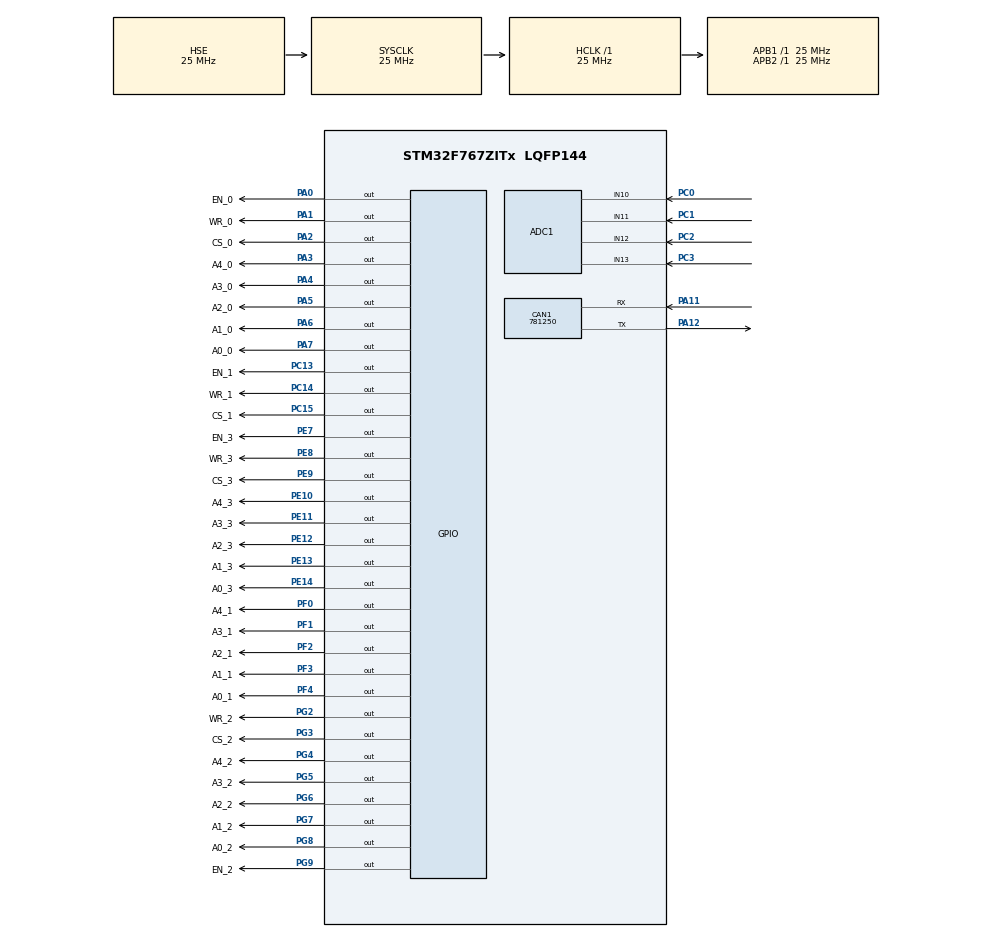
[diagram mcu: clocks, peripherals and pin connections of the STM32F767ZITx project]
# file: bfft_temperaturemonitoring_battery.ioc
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PE12.GPIO_ModeDefaultOutputPP=GPIO_MODE_OUTPUT_PP
PC15/OSC32_OUT.GPIO_ModeDefaultOutputPP=GPIO_MODE_OUTPUT_PP
PG8.GPIO_ModeDefaultOutputPP=GPIO_MODE_OUTPUT_PP
PE14.GPIO_Speed=GPIO_SPEED_FREQ_LOW
PG6.PinState=GPIO_PIN_SET
PG2.GPIO_PuPd=GPIO_NOPULL
PG4.Signal=GPIO_Output
PG8.Signal=GPIO_Output
ADC1.SamplingTime-6\#ChannelRegularConversion=ADC_SAMPLETIME_15CYCLES
PG6.GPIO_Label=A2_2
PE8.GPIO_PuPd=GPIO_NOPULL
PA3.GPIO_PuPd=GPIO_NOPULL
PC15/OSC32_OUT.GPIO_PuPd=GPIO_NOPULL
PE11.PinState=GPIO_PIN_SET
PE10.GPIO_PuPd=GPIO_NOPULL
PA6.GPIO_Label=A1_0
PG5.GPIO_ModeDefaultOutputPP=GPIO_MODE_OUTPUT_PP
PA3.GPIO_Speed=GPIO_SPEED_FREQ_LOW
PA5.PinState=GPIO_PIN_SET
ADC1.Channel-8\#ChannelRegularConversion=ADC_CHANNEL_13
RCC.SYSCLKSource=RCC_SYSCLKSOURCE_HSE
ADC1.Channel-5\#ChannelRegularConversion=ADC_CHANNEL_10
PC13.GPIO_ModeDefaultOutputPP=GPIO_MODE_OUTPUT_PP
PF1.GPIO_ModeDefaultOutputPP=GPIO_MODE_OUTPUT_PP
PG2.GPIO_ModeDefaultOutputPP=GPIO_MODE_OUTPUT_PP
RCC.APB2TimFreq_Value=25000000
PH1/OSC_OUT.Signal=RCC_OSC_OUT
PC3.Signal=ADCx_IN13
PA1.GPIO_PuPd=GPIO_NOPULL
ADC1.ScanConvMode=ADC_SCAN_ENABLE
PF1.GPIO_Label=A3_1
PG6.GPIO_PuPd=GPIO_NOPULL
PE9.Signal=GPIO_Output
PA5.GPIO_PuPd=GPIO_NOPULL
NVIC.TIM2_IRQn=true\:0\:0\:false\:false\:true\:true\:true
PG4.GPIO_Label=A4_2
PF3.Signal=GPIO_Output
PF1.GPIO_Speed=GPIO_SPEED_FREQ_LOW
PE10.Signal=GPIO_Output
PF4.GPIO_ModeDefaultOutputPP=GPIO_MODE_OUTPUT_PP
Mcu.Package=LQFP144
TIM2.Prescaler=25000-1
NVIC.TimeBase=TIM1_UP_TIM10_IRQn
PA2.GPIO_ModeDefaultOutputPP=GPIO_MODE_OUTPUT_PP
PC14/OSC32_IN.GPIO_PuPd=GPIO_NOPULL
PF3.GPIO_Speed=GPIO_SPEED_FREQ_LOW
NVIC.TimeBaseIP=TIM1
PF3.GPIO_PuPd=GPIO_NOPULL
PE12.GPIO_Label=A2_3
PA1.PinState=GPIO_PIN_RESET
PE12.GPIO_Speed=GPIO_SPEED_FREQ_LOW
PA6.GPIO_ModeDefaultOutputPP=GPIO_MODE_OUTPUT_PP
PE8.GPIO_Speed=GPIO_SPEED_FREQ_LOW
PG8.GPIO_Speed=GPIO_SPEED_FREQ_LOW
RCC.APB1TimFreq_Value=25000000
PC14/OSC32_IN.GPIO_Label=WR_1
PA6.GPIO_Speed=GPIO_SPEED_FREQ_LOW
PE10.GPIO_Label=A4_3
CAN1.CalculateTimeBit=1279.99
PA4.GPIO_Label=A3_0
PG6.GPIO_Speed=GPIO_SPEED_FREQ_LOW
PE12.GPIO_PuPd=GPIO_NOPULL
CAN1.CalculateTimeQuantum=426.6666666666667
PA0/WKUP.PinState=GPIO_PIN_RESET
PA3.GPIO_ModeDefaultOutputPP=GPIO_MODE_OUTPUT_PP
PG9.GPIO_PuPd=GPIO_NOPULL
PE11.GPIO_Speed=GPIO_SPEED_FREQ_LOW
PG5.Signal=GPIO_Output
PG9.Signal=GPIO_Output
PC13.Signal=GPIO_Output
PA0/WKUP.GPIO_ModeDefaultOutputPP=GPIO_MODE_OUTPUT_PP
CAN1.CalculateBaudRate=781250
PC2.Signal=ADCx_IN12
PA6.PinState=GPIO_PIN_SET
PC0.Signal=ADCx_IN10
PF2.PinState=GPIO_PIN_SET
ADC1.Channel-7\#ChannelRegularConversion=ADC_CHANNEL_12
PG8.GPIO_PuPd=GPIO_NOPULL
PG2.PinState=GPIO_PIN_RESET
PG5.PinState=GPIO_PIN_SET
PC14/OSC32_IN.GPIO_ModeDefaultOutputPP=GPIO_MODE_OUTPUT_PP
PE8.GPIO_Label=WR_3
PG7.PinState=GPIO_PIN_SET
PE9.GPIO_Label=CS_3
PA5.Signal=GPIO_Output
PF4.PinState=GPIO_PIN_SET
PA7.GPIO_Speed=GPIO_SPEED_FREQ_LOW
PE7.GPIO_Speed=GPIO_SPEED_FREQ_LOW
PE14.Signal=GPIO_Output
PE8.Signal=GPIO_Output
PG7.GPIO_Label=A1_2
PF4.GPIO_Label=A0_1
PA1.GPIO_Label=WR_0
PA0/WKUP.GPIO_Label=EN_0
TIM2.Period=2000-1
PA0/WKUP.GPIO_PuPd=GPIO_NOPULL
RCC.APB2TimCLKDivider=1
PA4.Signal=GPIO_Output
PG7.GPIO_ModeDefaultOutputPP=GPIO_MODE_OUTPUT_PP
ADC1.master=1
PE13.GPIO_Label=A1_3
PA5.GPIO_Label=A2_0
PE11.GPIO_ModeDefaultOutputPP=GPIO_MODE_OUTPUT_PP
PA11.Signal=CAN1_RX
ProjectManager.HeapSize=0x200
ADC1.SamplingTime-5\#ChannelRegularConversion=ADC_SAMPLETIME_15CYCLES
NVIC.TIM1_UP_TIM10_IRQn=true\:0\:0\:false\:false\:true\:false\:true
NVIC.PriorityGroup=NVIC_PRIORITYGROUP_4
PF0.GPIO_Label=A4_1
TIM2.AutoReloadPreload=TIM_AUTORELOAD_PRELOAD_DISABLE
PA3.PinState=GPIO_PIN_SET
PE7.GPIO_ModeDefaultOutputPP=GPIO_MODE_OUTPUT_PP
PC15/OSC32_OUT.Signal=GPIO_Output
PF4.Signal=GPIO_Output
PG3.GPIO_Label=CS_2
PG5.GPIO_Speed=GPIO_SPEED_FREQ_LOW
ADC1.Rank-5\#ChannelRegularConversion=1
PC1.Signal=ADCx_IN11
Mcu.Family=STM32F7
PA2.GPIO_PuPd=GPIO_NOPULL
PE7.GPIO_PuPd=GPIO_NOPULL
RCC.CortexFreq_Value=25000000
PC15/OSC32_OUT.GPIO_Label=CS_1
PG6.Signal=GPIO_Output
ADC1.ContinuousConvMode=ENABLE
PG2.Signal=GPIO_Output
PE11.GPIO_Label=A3_3
PF1.PinState=GPIO_PIN_SET
PF4.GPIO_PuPd=GPIO_NOPULL
PA2.GPIO_Speed=GPIO_SPEED_FREQ_LOW
PE9.GPIO_Speed=GPIO_SPEED_FREQ_LOW
PA11.Mode=CAN_Activate
PA0/WKUP.Signal=GPIO_Output
PA7.GPIO_ModeDefaultOutputPP=GPIO_MODE_OUTPUT_PP
PG9.GPIO_Speed=GPIO_SPEED_FREQ_LOW
PC13.GPIO_Label=EN_1
PG5.GPIO_Label=A3_2
PF2.GPIO_Speed=GPIO_SPEED_FREQ_LOW
ProjectManager.StackSize=0x400
PG2.GPIO_Speed=GPIO_SPEED_FREQ_LOW
PG3.GPIO_PuPd=GPIO_NOPULL
PF3.GPIO_ModeDefaultOutputPP=GPIO_MODE_OUTPUT_PP
PA12.Signal=CAN1_TX
PA7.PinState=GPIO_PIN_SET
PE11.GPIO_PuPd=GPIO_NOPULL
PH0/OSC_IN.Mode=HSE-External-Oscillator
PG3.GPIO_ModeDefaultOutputPP=GPIO_MODE_OUTPUT_PP
RCC.HCLKFreq_Value=25000000
PF2.GPIO_PuPd=GPIO_NOPULL
TIM2.ClockDivision=TIM_CLOCKDIVISION_DIV1
PG5.GPIO_PuPd=GPIO_NOPULL
PE14.PinState=GPIO_PIN_SET
RCC.AHBFreq_Value=25000000
RCC.HSE_VALUE=25000000
PA4.GPIO_PuPd=GPIO_NOPULL
PE13.PinState=GPIO_PIN_SET
PE13.GPIO_PuPd=GPIO_NOPULL
PA4.GPIO_Speed=GPIO_SPEED_FREQ_LOW
ADC1.Channel-6\#ChannelRegularConversion=ADC_CHANNEL_11
PA2.PinState=GPIO_PIN_RESET
PA6.GPIO_PuPd=GPIO_NOPULL
PE13.Signal=GPIO_Output
PG4.GPIO_Speed=GPIO_SPEED_FREQ_LOW
VP_SYS_VS_tim1.Mode=TIM1
PC13.GPIO_PuPd=GPIO_NOPULL
PF0.GPIO_ModeDefaultOutputPP=GPIO_MODE_OUTPUT_PP
PE10.GPIO_ModeDefaultOutputPP=GPIO_MODE_OUTPUT_PP
PA0/WKUP.GPIO_Speed=GPIO_SPEED_FREQ_LOW
PG7.GPIO_PuPd=GPIO_NOPULL
PE10.GPIO_Speed=GPIO_SPEED_FREQ_LOW
PH1/OSC_OUT.Mode=HSE-External-Oscillator
PG6.GPIO_ModeDefaultOutputPP=GPIO_MODE_OUTPUT_PP
PG4.PinState=GPIO_PIN_SET
PA6.Signal=GPIO_Output
PC14/OSC32_IN.Signal=GPIO_Output
PA2.GPIO_Label=CS_0
PA4.GPIO_ModeDefaultOutputPP=GPIO_MODE_OUTPUT_PP
PG8.PinState=GPIO_PIN_SET
PE8.GPIO_ModeDefaultOutputPP=GPIO_MODE_OUTPUT_PP
PF0.Signal=GPIO_Output
PE7.Signal=GPIO_Output
ADC1.Rank-6\#ChannelRegularConversion=2
ADC1.SamplingTime-8\#ChannelRegularConversion=ADC_SAMPLETIME_15CYCLES
PF3.GPIO_Label=A1_1
PG2.GPIO_Label=WR_2
PA3.Signal=GPIO_Output
PE14.GPIO_ModeDefaultOutputPP=GPIO_MODE_OUTPUT_PP
PE10.PinState=GPIO_PIN_SET
RCC.PLLSourceVirtual=RCC_PLLSOURCE_HSE
SH.ADCx_IN13.0=ADC1_IN13,IN13
PF2.GPIO_ModeDefaultOutputPP=GPIO_MODE_OUTPUT_PP
PG7.Signal=GPIO_Output
PG4.GPIO_ModeDefaultOutputPP=GPIO_MODE_OUTPUT_PP
PG3.Signal=GPIO_Output
ADC1.Rank-8\#ChannelRegularConversion=4
PE14.GPIO_Label=A0_3
PF0.GPIO_Speed=GPIO_SPEED_FREQ_LOW
PG8.GPIO_Label=A0_2
PA13.Signal=SYS_JTMS-SWDIO
SH.ADCx_IN12.0=ADC1_IN12,IN12
PA4.PinState=GPIO_PIN_SET
CAN1.BS2=CAN_BS2_1TQ
CAN1.BS1=CAN_BS1_1TQ
ProjectManager.TargetToolchain=STM32CubeIDE
PF2.Signal=GPIO_Output
RCC.USBFreq_Value=150000000
PE11.Signal=GPIO_Output
RCC.LSE_VALUE=32768
PA1.Signal=GPIO_Output
PA7.GPIO_PuPd=GPIO_NOPULL
PG9.GPIO_Label=EN_2
board=custom
RCC.VCOOutputFreq_Value=300000000
PH0/OSC_IN.Signal=RCC_OSC_IN
PG3.PinState=GPIO_PIN_RESET
PG7.GPIO_Speed=GPIO_SPEED_FREQ_LOW
RCC.APB2Freq_Value=25000000
SH.ADCx_IN11.0=ADC1_IN11,IN11
PA5.GPIO_ModeDefaultOutputPP=GPIO_MODE_OUTPUT_PP
PF4.GPIO_Speed=GPIO_SPEED_FREQ_LOW
VP_TIM2_VS_ClockSourceINT.Mode=Internal
PA1.GPIO_Speed=GPIO_SPEED_FREQ_LOW
PF1.GPIO_PuPd=GPIO_NOPULL
PE14.GPIO_PuPd=GPIO_NOPULL
PF1.Signal=GPIO_Output
ADC1.NbrOfConversion=4
Mcu.Name=STM32F767ZITx
PF3.PinState=GPIO_PIN_SET
PE7.GPIO_Label=EN_3
PE12.Signal=GPIO_Output
PA2.Signal=GPIO_Output
PE12.PinState=GPIO_PIN_SET
RCC.SYSCLKFreq_VALUE=25000000
PF0.GPIO_PuPd=GPIO_NOPULL
PA7.GPIO_Label=A0_0
PA12.Mode=CAN_Activate
PE13.GPIO_ModeDefaultOutputPP=GPIO_MODE_OUTPUT_PP
PG3.GPIO_Speed=GPIO_SPEED_FREQ_LOW
PA14.Signal=SYS_JTCK-SWCLK
SH.ADCx_IN10.0=ADC1_IN10,IN10
PG9.GPIO_ModeDefaultOutputPP=GPIO_MODE_OUTPUT_PP
PG4.GPIO_PuPd=GPIO_NOPULL
RCC.HSI_VALUE=16000000
ADC1.Rank-7\#ChannelRegularConversion=3
PA5.GPIO_Speed=GPIO_SPEED_FREQ_LOW
ADC1.NbrOfConversionFlag=1
PE13.GPIO_Speed=GPIO_SPEED_FREQ_LOW
PE9.GPIO_ModeDefaultOutputPP=GPIO_MODE_OUTPUT_PP
ADC1.SamplingTime-7\#ChannelRegularConversion=ADC_SAMPLETIME_15CYCLES
RCC.APB1Freq_Value=25000000
ADC1.ClockPrescaler=ADC_CLOCK_SYNC_PCLK_DIV2
PF0.PinState=GPIO_PIN_SET
PA3.GPIO_Label=A4_0
PA7.Signal=GPIO_Output
PA1.GPIO_ModeDefaultOutputPP=GPIO_MODE_OUTPUT_PP
PE9.GPIO_PuPd=GPIO_NOPULL
PF2.GPIO_Label=A2_1

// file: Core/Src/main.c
/* USER CODE BEGIN Header */
/**
 ******************************************************************************
 * @file           : main.c
 * @brief          : Main program body
 ******************************************************************************
 * @attention
 *
 * <h2><center>&copy; Copyright (c) 2020 STMicroelectronics.
 * All rights reserved.</center></h2>
 *
 * This software component is licensed by ST under BSD 3-Clause license,
 * the "License"; You may not use this file except in compliance with the
 * License. You may obtain a copy of the License at:
 *                        opensource.org/licenses/BSD-3-Clause
 *
 ******************************************************************************
 */
/* USER CODE END Header */
#include "main.h"

/* USER CODE BEGIN PTD */

typedef struct sTemp
{
  uint32_t ADC_VAL[4][26];
  float Temp_VAL[4][26];
  const float Avg_Slope;			//Einheit: Kelvin/Bit
}tTemp;

tTemp Temp = {{0}, {0}, 0.08};

/* USER CODE END PTD */

/* USER CODE BEGIN PD */

#define Anzahl_MUX 4			//Für mehr als vier Multiplexer müssen die angeschlossenen GPIO-Pins nach dem folgenden Schema in der .ioc konfiguriert sein: A0_x ... A4_x, EN_x, WR_x, CS_x
#define Anzahl_Sensoren 26		//Maximal 32 Sensoren pro Multiplexer bei dem Modell ADG732 möglich

#define Func_OK 1

/* USER CODE END PD */

ADC_HandleTypeDef hadc1;

CAN_HandleTypeDef hcan1;

TIM_HandleTypeDef htim2;

void SystemClock_Config(void);
static void MX_GPIO_Init(void);
static void MX_ADC1_Init(void);
static void MX_CAN1_Init(void);
static void MX_TIM2_Init(void);

/* USER CODE BEGIN 0 */

uint8_t vADC = 0;
uint8_t *pchangeADC = &vADC;

/**
 * @brief changes ADC channel
 * @param uint8_t* 0...Anzahl_MUX
 * @retval None
 */

void changeCH(uint8_t *changeADC)
{
	uint8_t channel = (*changeADC + 10);
	ADC_ChannelConfTypeDef sConfig;
	switch (channel)
	{
	case 10: sConfig.Channel = ADC_CHANNEL_10; break;
	case 11: sConfig.Channel = ADC_CHANNEL_11; break;
	case 12: sConfig.Channel = ADC_CHANNEL_12; break;
	case 13: sConfig.Channel = ADC_CHANNEL_13; break;				//Für mehr als 4 Multiplexer hier erweitern!!!
	//default: return(void);
	}
	sConfig.SamplingTime = ADC_SAMPLETIME_15CYCLES;
	if (HAL_ADC_ConfigChannel(&hadc1, &sConfig) != HAL_OK)
	{
		Error_Handler();
	}
}

/*void ADC_Select_CH10 (void)
{
	ADC_ChannelConfTypeDef sConfig = {0};
	  * Configure for the selected ADC regular channel its corresponding rank in the sequencer and its sample time.

	  sConfig.Channel = ADC_CHANNEL_10;
	  sConfig.Rank = 1;
	  sConfig.SamplingTime = ADC_SAMPLETIME_15CYCLES;
	  if (HAL_ADC_ConfigChannel(&hadc1, &sConfig) != HAL_OK)
	  {
	    Error_Handler();
	  }
}*/

static uint16_t muxcontroll[3][Anzahl_MUX] =
{
		{CS_0_Pin, CS_1_Pin, CS_2_Pin, CS_3_Pin},
		{EN_0_Pin, EN_1_Pin, EN_2_Pin, EN_3_Pin},
		{WR_0_Pin, WR_1_Pin, WR_2_Pin, WR_3_Pin}
};

static uint16_t muxaddress[Anzahl_MUX][5] =
{
		{A0_0_Pin, A1_0_Pin, A2_0_Pin, A3_0_Pin, A4_0_Pin},
		{A0_1_Pin, A1_1_Pin, A2_1_Pin, A3_1_Pin, A4_1_Pin},
		{A0_2_Pin, A1_2_Pin, A2_2_Pin, A3_2_Pin, A4_2_Pin},
		{A0_3_Pin, A1_3_Pin, A2_3_Pin, A3_3_Pin, A4_3_Pin}
};

//typedef struct smuxcontroll
//{
//	uint16_t CS_Pin[4];
//	uint16_t EN_Pin[4];
//	uint16_t WR_Pin[4];
//}tmuxcontroll;
//
//struct smuxaddress
//{
//	uint16_t A0[4] = {A0_0_Pin, A0_1_Pin, A0_2_Pin, A0_3_Pin};
//	uint16_t A1[4] = {A1_0_Pin, A1_1_Pin, A1_2_Pin, A1_3_Pin};
//	uint16_t A2[4] = {A2_0_Pin, A2_1_Pin, A2_2_Pin, A2_3_Pin};
//	uint16_t A3[4] = {A3_0_Pin, A3_1_Pin, A3_2_Pin, A3_3_Pin};
//	uint16_t A4[4] = {A4_0_Pin, A4_1_Pin, A4_2_Pin, A4_3_Pin};
//}muxaddress;

/**
 * @brief returns fitting port of corresponding MUX
 * @param uint8_t 0...3
 * @retval GPIO_TypeDef*
 */

GPIO_TypeDef* selectMuxPort(uint8_t port)
{
	switch (port)
	{
		case 0: return(GPIOA); break;
		case 1: return(GPIOC); break;
		case 2: return(GPIOG); break;
		case 3: return(GPIOE); break;								//Port des weiteren Multiplexers hier erweitern
		default: return(NULL);				//default case gibt Null-Zeiger zurück
	}
}

/**
 * @brief Set CS, EN, WR to zero, runs only once
 * @param None
 * @retval None
 */
void initmux()
{
//	tmuxcontroll muxcontroll;
//	muxcontroll.CS_Pin[0]= CS_0_Pin;
//	muxcontroll.CS_Pin[1]= CS_1_Pin;
//	muxcontroll.CS_Pin[2]= CS_2_Pin;
//	muxcontroll.CS_Pin[3]= CS_3_Pin;
//
//	muxcontroll.EN_Pin[4] = {EN_0_Pin, EN_1_Pin, EN_2_Pin, EN_3_Pin};
//	{WR_0_Pin, WR_1_Pin, WR_2_Pin, WR_3_Pin};

	for(int i=0; i<Anzahl_MUX; i++)
	{
		for(int j=0; j<3; j++)
		{
			HAL_GPIO_WritePin(selectMuxPort(i), muxcontroll[j][i], GPIO_PIN_RESET);
		}
	}
}

/**
 * @brief Set A0, A1, A2, A3, A4 according to calculated binary, runs for every change
 * @param uint8_t
 * @retval 1: success
 */

int setMuxAddress(uint8_t pin)				//Adresse wird für jeden Multiplexer gleich gesetzt
{
	uint8_t binary[5] = { 0 };

	for (int i = 0; pin > 0; i++)
	{
		binary[i] = pin % 2;			//Umrechnung Dezimal-Zahl in Binär-Zahl
		pin = pin / 2;
	}

	for (int i = 0; i < Anzahl_MUX; i++)			//Schleife für Multiplexer
	{
		HAL_GPIO_WritePin(selectMuxPort(i), muxcontroll[2][i], GPIO_PIN_RESET);		//setze WR-Pin auf 0 --> Multiplexer ist bereit
		for (int j = 0; j < 5; j++)		//Schleife für Setzen der Adress-Bits
		{
			if(i!=1)
			{
				HAL_GPIO_WritePin(selectMuxPort(i), muxaddress[i][j], binary[j]);
			} else
			{
				HAL_GPIO_WritePin(GPIOF, muxaddress[i][j], binary[j]);			//Ausnahme dokumentieren
			}
		}
		HAL_GPIO_WritePin(selectMuxPort(i), muxcontroll[2][i], GPIO_PIN_SET);			//setze WR-Pin auf 1 --> Multiplexer schaltet Eingang auf Ausgang entsprechend des Adressleitungen
	}

	return Func_OK;

}

/**
 * @brief entry function for collecting temp data
 * @param none
 * @retval 1: success
 */

uint8_t readTempVal()
{
	for (int i = 0; i < Anzahl_Sensoren; i++)
	{
		setMuxAddress(i);

		for(uint8_t j=0; j<Anzahl_MUX; j++)
		{
			changeCH(&j);
			HAL_ADC_Start(&hadc1);
			HAL_ADC_PollForConversion(&hadc1, 1000);
			Temp.ADC_VAL[j][i] = HAL_ADC_GetValue(&hadc1);
			HAL_ADC_Stop(&hadc1);

			Temp.Temp_VAL[j][i] = (Temp.Avg_Slope*Temp.ADC_VAL[j][i]-168);
		}
	}
	return Func_OK;
}

/* USER CODE END 0 */

int main(void)
{

  /* MCU Configuration--------------------------------------------------------*/

  /* Reset of all peripherals, Initializes the Flash interface and the Systick. */
  HAL_Init();

  /* USER CODE BEGIN Init */

  initmux();

  /* USER CODE END Init */

  /* Configure the system clock */
  SystemClock_Config();

  /* Initialize all configured peripherals */
  MX_GPIO_Init();
  MX_ADC1_Init();
  MX_CAN1_Init();
  MX_TIM2_Init();
  HAL_TIM_Base_Start_IT(&htim2);

  /* Infinite loop */
	while (1)
	{

	}
}

void SystemClock_Config(void)
{
  RCC_OscInitTypeDef RCC_OscInitStruct = {0};
  RCC_ClkInitTypeDef RCC_ClkInitStruct = {0};

  /** Configure the main internal regulator output voltage
  */
  __HAL_RCC_PWR_CLK_ENABLE();
  __HAL_PWR_VOLTAGESCALING_CONFIG(PWR_REGULATOR_VOLTAGE_SCALE3);
  /** Initializes the RCC Oscillators according to the specified parameters
  * in the RCC_OscInitTypeDef structure.
  */
  RCC_OscInitStruct.OscillatorType = RCC_OSCILLATORTYPE_HSE;
  RCC_OscInitStruct.HSEState = RCC_HSE_ON;
  RCC_OscInitStruct.PLL.PLLState = RCC_PLL_NONE;
  if (HAL_RCC_OscConfig(&RCC_OscInitStruct) != HAL_OK)
  {
    Error_Handler();
  }
  /** Initializes the CPU, AHB and APB buses clocks
  */
  RCC_ClkInitStruct.ClockType = RCC_CLOCKTYPE_HCLK|RCC_CLOCKTYPE_SYSCLK
                              |RCC_CLOCKTYPE_PCLK1|RCC_CLOCKTYPE_PCLK2;
  RCC_ClkInitStruct.SYSCLKSource = RCC_SYSCLKSOURCE_HSE;
  RCC_ClkInitStruct.AHBCLKDivider = RCC_SYSCLK_DIV1;
  RCC_ClkInitStruct.APB1CLKDivider = RCC_HCLK_DIV1;
  RCC_ClkInitStruct.APB2CLKDivider = RCC_HCLK_DIV1;

  if (HAL_RCC_ClockConfig(&RCC_ClkInitStruct, FLASH_LATENCY_0) != HAL_OK)
  {
    Error_Handler();
  }
}

static void MX_ADC1_Init(void)
{

  ADC_ChannelConfTypeDef sConfig = {0};

  /** Configure the global features of the ADC (Clock, Resolution, Data Alignment and number of conversion)
  */
  hadc1.Instance = ADC1;
  hadc1.Init.ClockPrescaler = ADC_CLOCK_SYNC_PCLK_DIV2;
  hadc1.Init.Resolution = ADC_RESOLUTION_12B;
  hadc1.Init.ScanConvMode = ADC_SCAN_ENABLE;
  hadc1.Init.ContinuousConvMode = ENABLE;
  hadc1.Init.DiscontinuousConvMode = DISABLE;
  hadc1.Init.ExternalTrigConvEdge = ADC_EXTERNALTRIGCONVEDGE_NONE;
  hadc1.Init.ExternalTrigConv = ADC_SOFTWARE_START;
  hadc1.Init.DataAlign = ADC_DATAALIGN_RIGHT;
  hadc1.Init.NbrOfConversion = 4;
  hadc1.Init.DMAContinuousRequests = DISABLE;
  hadc1.Init.EOCSelection = ADC_EOC_SINGLE_CONV;
  if (HAL_ADC_Init(&hadc1) != HAL_OK)
  {
    Error_Handler();
  }
  /** Configure for the selected ADC regular channel its corresponding rank in the sequencer and its sample time.
  */
  sConfig.Channel = ADC_CHANNEL_10;
  sConfig.Rank = ADC_REGULAR_RANK_1;
  sConfig.SamplingTime = ADC_SAMPLETIME_15CYCLES;
  if (HAL_ADC_ConfigChannel(&hadc1, &sConfig) != HAL_OK)
  {
    Error_Handler();
  }
  /** Configure for the selected ADC regular channel its corresponding rank in the sequencer and its sample time.
  */
  sConfig.Channel = ADC_CHANNEL_11;
  sConfig.Rank = ADC_REGULAR_RANK_2;
  if (HAL_ADC_ConfigChannel(&hadc1, &sConfig) != HAL_OK)
  {
    Error_Handler();
  }
  /** Configure for the selected ADC regular channel its corresponding rank in the sequencer and its sample time.
  */
  sConfig.Channel = ADC_CHANNEL_12;
  sConfig.Rank = ADC_REGULAR_RANK_3;
  if (HAL_ADC_ConfigChannel(&hadc1, &sConfig) != HAL_OK)
  {
    Error_Handler();
  }
  /** Configure for the selected ADC regular channel its corresponding rank in the sequencer and its sample time.
  */
  sConfig.Channel = ADC_CHANNEL_13;
  sConfig.Rank = ADC_REGULAR_RANK_4;
  if (HAL_ADC_ConfigChannel(&hadc1, &sConfig) != HAL_OK)
  {
    Error_Handler();
  }

}

static void MX_CAN1_Init(void)
{

  hcan1.Instance = CAN1;
  hcan1.Init.Prescaler = 16;
  hcan1.Init.Mode = CAN_MODE_NORMAL;
  hcan1.Init.SyncJumpWidth = CAN_SJW_1TQ;
  hcan1.Init.TimeSeg1 = CAN_BS1_1TQ;
  hcan1.Init.TimeSeg2 = CAN_BS2_1TQ;
  hcan1.Init.TimeTriggeredMode = DISABLE;
  hcan1.Init.AutoBusOff = DISABLE;
  hcan1.Init.AutoWakeUp = DISABLE;
  hcan1.Init.AutoRetransmission = DISABLE;
  hcan1.Init.ReceiveFifoLocked = DISABLE;
  hcan1.Init.TransmitFifoPriority = DISABLE;
  if (HAL_CAN_Init(&hcan1) != HAL_OK)
  {
    Error_Handler();
  }

}

static void MX_TIM2_Init(void)
{

  TIM_ClockConfigTypeDef sClockSourceConfig = {0};
  TIM_MasterConfigTypeDef sMasterConfig = {0};

  htim2.Instance = TIM2;
  htim2.Init.Prescaler = 25000-1;
  htim2.Init.CounterMode = TIM_COUNTERMODE_UP;
  htim2.Init.Period = 2000-1;
  htim2.Init.ClockDivision = TIM_CLOCKDIVISION_DIV1;
  htim2.Init.AutoReloadPreload = TIM_AUTORELOAD_PRELOAD_DISABLE;
  if (HAL_TIM_Base_Init(&htim2) != HAL_OK)
  {
    Error_Handler();
  }
  sClockSourceConfig.ClockSource = TIM_CLOCKSOURCE_INTERNAL;
  if (HAL_TIM_ConfigClockSource(&htim2, &sClockSourceConfig) != HAL_OK)
  {
    Error_Handler();
  }
  sMasterConfig.MasterOutputTrigger = TIM_TRGO_RESET;
  sMasterConfig.MasterSlaveMode = TIM_MASTERSLAVEMODE_DISABLE;
  if (HAL_TIMEx_MasterConfigSynchronization(&htim2, &sMasterConfig) != HAL_OK)
  {
    Error_Handler();
  }

}

static void MX_GPIO_Init(void)
{
  GPIO_InitTypeDef GPIO_InitStruct = {0};

  /* GPIO Ports Clock Enable */
  __HAL_RCC_GPIOC_CLK_ENABLE();
  __HAL_RCC_GPIOF_CLK_ENABLE();
  __HAL_RCC_GPIOH_CLK_ENABLE();
  __HAL_RCC_GPIOA_CLK_ENABLE();
  __HAL_RCC_GPIOE_CLK_ENABLE();
  __HAL_RCC_GPIOG_CLK_ENABLE();

  /*Configure GPIO pin Output Level */
  HAL_GPIO_WritePin(GPIOC, EN_1_Pin|WR_1_Pin|CS_1_Pin, GPIO_PIN_RESET);

  /*Configure GPIO pin Output Level */
  HAL_GPIO_WritePin(GPIOF, A4_1_Pin|A3_1_Pin|A2_1_Pin|A1_1_Pin
                          |A0_1_Pin, GPIO_PIN_SET);

  /*Configure GPIO pin Output Level */
  HAL_GPIO_WritePin(GPIOA, EN_0_Pin|WR_0_Pin|CS_0_Pin, GPIO_PIN_RESET);

  /*Configure GPIO pin Output Level */
  HAL_GPIO_WritePin(GPIOA, A4_0_Pin|A3_0_Pin|A2_0_Pin|A1_0_Pin
                          |A0_0_Pin, GPIO_PIN_SET);

  /*Configure GPIO pin Output Level */
  HAL_GPIO_WritePin(GPIOE, EN_3_Pin|WR_3_Pin|CS_3_Pin, GPIO_PIN_RESET);

  /*Configure GPIO pin Output Level */
  HAL_GPIO_WritePin(GPIOE, A4_3_Pin|A3_3_Pin|A2_3_Pin|A1_3_Pin
                          |A0_3_Pin, GPIO_PIN_SET);

  /*Configure GPIO pin Output Level */
  HAL_GPIO_WritePin(GPIOG, WR_2_Pin|CS_2_Pin|EN_2_Pin, GPIO_PIN_RESET);

  /*Configure GPIO pin Output Level */
  HAL_GPIO_WritePin(GPIOG, A4_2_Pin|A3_2_Pin|A2_2_Pin|A1_2_Pin
                          |A0_2_Pin, GPIO_PIN_SET);

  /*Configure GPIO pins : EN_1_Pin WR_1_Pin CS_1_Pin */
  GPIO_InitStruct.Pin = EN_1_Pin|WR_1_Pin|CS_1_Pin;
  GPIO_InitStruct.Mode = GPIO_MODE_OUTPUT_PP;
  GPIO_InitStruct.Pull = GPIO_NOPULL;
  GPIO_InitStruct.Speed = GPIO_SPEED_FREQ_LOW;
  HAL_GPIO_Init(GPIOC, &GPIO_InitStruct);

  /*Configure GPIO pins : A4_1_Pin A3_1_Pin A2_1_Pin A1_1_Pin
                           A0_1_Pin */
  GPIO_InitStruct.Pin = A4_1_Pin|A3_1_Pin|A2_1_Pin|A1_1_Pin
                          |A0_1_Pin;
  GPIO_InitStruct.Mode = GPIO_MODE_OUTPUT_PP;
  GPIO_InitStruct.Pull = GPIO_NOPULL;
  GPIO_InitStruct.Speed = GPIO_SPEED_FREQ_LOW;
  HAL_GPIO_Init(GPIOF, &GPIO_InitStruct);

  /*Configure GPIO pins : EN_0_Pin WR_0_Pin CS_0_Pin A4_0_Pin
                           A3_0_Pin A2_0_Pin A1_0_Pin A0_0_Pin */
  GPIO_InitStruct.Pin = EN_0_Pin|WR_0_Pin|CS_0_Pin|A4_0_Pin
                          |A3_0_Pin|A2_0_Pin|A1_0_Pin|A0_0_Pin;
  GPIO_InitStruct.Mode = GPIO_MODE_OUTPUT_PP;
  GPIO_InitStruct.Pull = GPIO_NOPULL;
  GPIO_InitStruct.Speed = GPIO_SPEED_FREQ_LOW;
  HAL_GPIO_Init(GPIOA, &GPIO_InitStruct);

  /*Configure GPIO pins : EN_3_Pin WR_3_Pin CS_3_Pin A4_3_Pin
                           A3_3_Pin A2_3_Pin A1_3_Pin A0_3_Pin */
  GPIO_InitStruct.Pin = EN_3_Pin|WR_3_Pin|CS_3_Pin|A4_3_Pin
                          |A3_3_Pin|A2_3_Pin|A1_3_Pin|A0_3_Pin;
  GPIO_InitStruct.Mode = GPIO_MODE_OUTPUT_PP;
  GPIO_InitStruct.Pull = GPIO_NOPULL;
  GPIO_InitStruct.Speed = GPIO_SPEED_FREQ_LOW;
  HAL_GPIO_Init(GPIOE, &GPIO_InitStruct);

  /*Configure GPIO pins : WR_2_Pin CS_2_Pin A4_2_Pin A3_2_Pin
                           A2_2_Pin A1_2_Pin A0_2_Pin EN_2_Pin */
  GPIO_InitStruct.Pin = WR_2_Pin|CS_2_Pin|A4_2_Pin|A3_2_Pin
                          |A2_2_Pin|A1_2_Pin|A0_2_Pin|EN_2_Pin;
  GPIO_InitStruct.Mode = GPIO_MODE_OUTPUT_PP;
  GPIO_InitStruct.Pull = GPIO_NOPULL;
  GPIO_InitStruct.Speed = GPIO_SPEED_FREQ_LOW;
  HAL_GPIO_Init(GPIOG, &GPIO_InitStruct);

}

 /**
  * @brief  Period elapsed callback in non blocking mode
  * @note   This function is called  when TIM1 interrupt took place, inside
  * HAL_TIM_IRQHandler(). It makes a direct call to HAL_IncTick() to increment
  * a global variable "uwTick" used as application time base.
  * @param  htim : TIM handle
  * @retval None
  */
void HAL_TIM_PeriodElapsedCallback(TIM_HandleTypeDef *htim)
{
  if (htim->Instance == TIM1) {
    HAL_IncTick();
  }
}

void Error_Handler(void)
{
}

/************************ (C) COPYRIGHT STMicroelectronics *****END OF FILE****/
